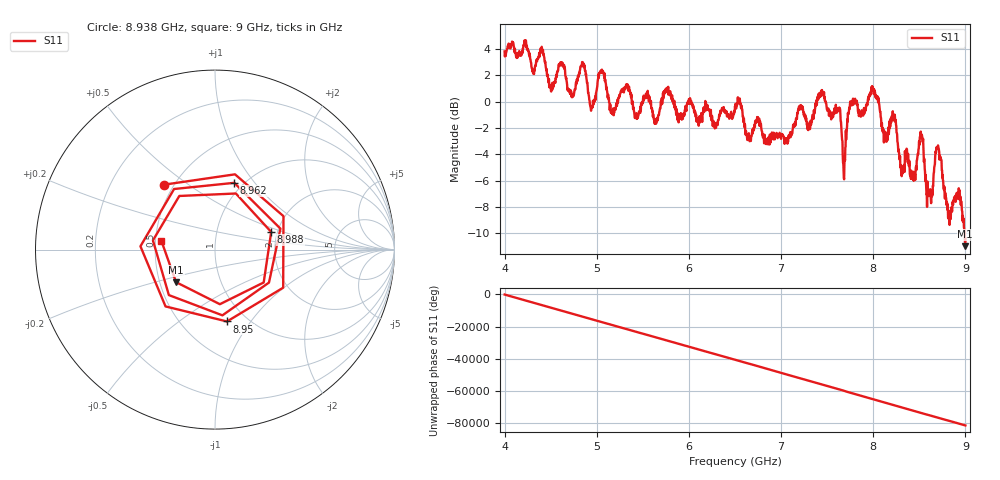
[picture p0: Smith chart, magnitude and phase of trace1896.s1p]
! Created with skrf 1.8.0 (http://scikit-rf.org).
# Hz S RI R 50.0
!freq ReS11 ImS11
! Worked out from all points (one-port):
!   1601 points, 4 GHz to 9 GHz, reference 50 ohm
!   lowest |S11| = -11.0 dB at 8.997 GHz (marker M1), VSWR 1.79, Z = 30.4 - j12 ohm
!   |S11| at or under -10 dB: 8.992495 GHz to end of sweep
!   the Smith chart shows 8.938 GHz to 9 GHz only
!   S11 on the Smith chart (normalised r, x): 8.938 GHz: 0.44, +0.41; 8.95 GHz: 0.81, -0.78; 8.962 GHz: 0.91, +0.80; 8.988 GHz: 1.85, +0.41; 9 GHz: 0.54, +0.06
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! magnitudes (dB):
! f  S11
! 4 GHz  3.8
! 4.509 GHz  0.8
! 4.625 GHz  3.0
! 4.728 GHz  0.4
! 4.853 GHz  2.9
! 4.944 GHz  -0.5
! 5.05 GHz  2.2
! 5.166 GHz  -0.9
! 5.25 GHz  0.5
! 5.875 GHz  -1.0
! 6.5 GHz  -0.4
! 7.125 GHz  -2.1
! 7.447 GHz  0.6
! 7.619 GHz  -0.7
! 7.684 GHz  -5.9
! 7.75 GHz  0.0
! 8.003 GHz  0.9
! 8.375 GHz  -4.6
! 8.522 GHz  -2.7
! 8.619 GHz  -6.6
! 8.7 GHz  -3.5
! 8.819 GHz  -8.4
! 8.938 GHz  -6.7
! 8.95 GHz  -7.8
! 8.962 GHz  -8.2
! 8.988 GHz  -9.7
! 8.997 GHz  -11.0
! 9 GHz  -10.4
